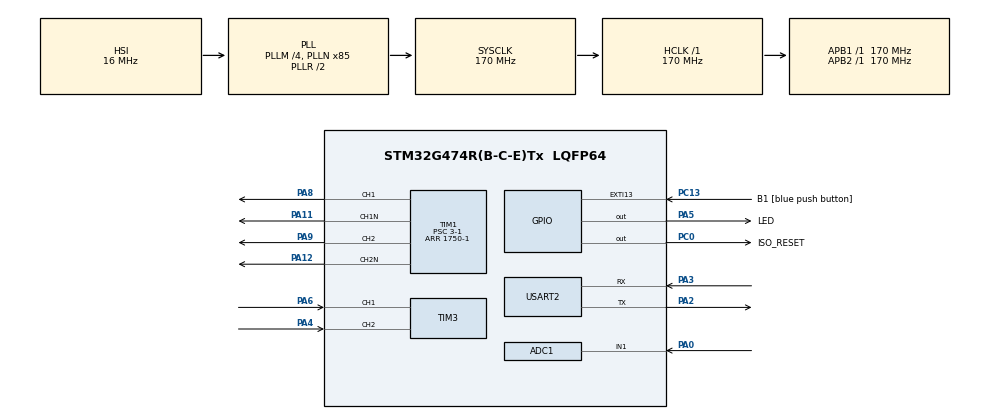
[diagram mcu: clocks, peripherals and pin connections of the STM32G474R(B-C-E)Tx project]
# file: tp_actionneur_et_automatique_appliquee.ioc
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ADC1.Channel-0\#ChannelRegularConversion=ADC_CHANNEL_1
ADC1.DMAContinuousRequests=ENABLE
ADC1.ExternalTrigConv=ADC_EXTERNALTRIG_T1_TRGO
ADC1.NbrOfConversionFlag=1
ADC1.OffsetNumber-0\#ChannelRegularConversion=ADC_OFFSET_NONE
ADC1.Rank-0\#ChannelRegularConversion=1
ADC1.SamplingTime-0\#ChannelRegularConversion=ADC_SAMPLETIME_92CYCLES_5
ADC1.master=1
Dma.ADC1.0.Direction=DMA_PERIPH_TO_MEMORY
Dma.ADC1.0.EventEnable=DISABLE
Dma.ADC1.0.Instance=DMA1_Channel1
Dma.ADC1.0.MemDataAlignment=DMA_MDATAALIGN_WORD
Dma.ADC1.0.MemInc=DMA_MINC_ENABLE
Dma.ADC1.0.Mode=DMA_CIRCULAR
Dma.ADC1.0.PeriphDataAlignment=DMA_PDATAALIGN_WORD
Dma.ADC1.0.PeriphInc=DMA_PINC_DISABLE
Dma.ADC1.0.Polarity=HAL_DMAMUX_REQ_GEN_RISING
Dma.ADC1.0.Priority=DMA_PRIORITY_LOW
Dma.ADC1.0.RequestNumber=1
Dma.ADC1.0.SignalID=NONE
Dma.ADC1.0.SyncEnable=DISABLE
Dma.ADC1.0.SyncPolarity=HAL_DMAMUX_SYNC_NO_EVENT
Dma.ADC1.0.SyncRequestNumber=1
Dma.ADC1.0.SyncSignalID=NONE
Dma.Request0=ADC1
Mcu.Family=STM32G4
Mcu.Name=STM32G474R(B-C-E)Tx
Mcu.Package=LQFP64
NVIC.DMA1_Channel1_IRQn=true\:0\:0\:false\:false\:true\:false\:true\:true
NVIC.EXTI15_10_IRQn=true\:0\:0\:false\:false\:true\:true\:true\:true
NVIC.PriorityGroup=NVIC_PRIORITYGROUP_4
NVIC.TIM4_IRQn=true\:0\:0\:false\:false\:true\:true\:true\:true
NVIC.USART2_IRQn=true\:0\:0\:false\:false\:true\:true\:true\:true
PA0.Mode=IN1-Single-Ended
PA0.Signal=ADC1_IN1
PA11.Mode=PWM Generation1 CH1 CH1N
PA11.Signal=TIM1_CH1N
PA12.Mode=PWM Generation2 CH2 CH2N
PA12.Signal=TIM1_CH2N
PA13.GPIO_Label=T_SWDIO
PA13.Mode=Serial_Wire
PA13.Signal=SYS_JTMS-SWDIO
PA14.GPIO_Label=T_SWCLK
PA14.Mode=Serial_Wire
PA14.Signal=SYS_JTCK-SWCLK
PA2.Mode=Asynchronous
PA2.Signal=USART2_TX
PA3.Mode=Asynchronous
PA3.Signal=USART2_RX
PA4.Signal=S_TIM3_CH2
PA5.GPIO_Label=LED
PA5.Signal=GPIO_Output
PA6.Signal=S_TIM3_CH1
PA8.Signal=S_TIM1_CH1
PA9.Signal=S_TIM1_CH2
PC0.GPIO_Label=ISO_RESET
PC0.Signal=GPIO_Output
PC13.GPIO_Label=B1 [blue push button]
PC13.Signal=GPXTI13
PC14-OSC32_IN.Mode=LSE-External-Oscillator
PC14-OSC32_IN.Signal=RCC_OSC32_IN
PC15-OSC32_OUT.Mode=LSE-External-Oscillator
PC15-OSC32_OUT.Signal=RCC_OSC32_OUT
PF0-OSC_IN.Mode=HSE-External-Oscillator
PF0-OSC_IN.Signal=RCC_OSC_IN
PF1-OSC_OUT.Mode=HSE-External-Oscillator
PF1-OSC_OUT.Signal=RCC_OSC_OUT
ProjectManager.HeapSize=0x200
ProjectManager.StackSize=0x400
ProjectManager.TargetToolchain=STM32CubeIDE
RCC.ADC12Freq_Value=170000000
RCC.ADC345Freq_Value=170000000
RCC.AHBFreq_Value=170000000
RCC.APB1Freq_Value=170000000
RCC.APB1TimFreq_Value=170000000
RCC.APB2Freq_Value=170000000
RCC.APB2TimFreq_Value=170000000
RCC.CortexFreq_Value=170000000
RCC.EXTERNAL_CLOCK_VALUE=12288000
RCC.HCLKFreq_Value=170000000
RCC.HSE_VALUE=24000000
RCC.HSI48_VALUE=48000000
RCC.HSI_VALUE=16000000
RCC.PLLM=RCC_PLLM_DIV4
RCC.PLLN=85
RCC.RTCClockSelection=RCC_RTCCLKSOURCE_LSE
RCC.SYSCLKFreq_VALUE=170000000
RCC.SYSCLKSource=RCC_SYSCLKSOURCE_PLLCLK
RCC.USBFreq_Value=170000000
RCC.VCOOutputFreq_Value=340000000
SH.S_TIM1_CH1.0=TIM1_CH1,PWM Generation1 CH1 CH1N
SH.S_TIM1_CH2.0=TIM1_CH2,PWM Generation2 CH2 CH2N
SH.S_TIM3_CH1.0=TIM3_CH1,Encoder_Interface
SH.S_TIM3_CH2.0=TIM3_CH2,Encoder_Interface
TIM1.AutoReloadPreload=TIM_AUTORELOAD_PRELOAD_ENABLE
TIM1.BreakState=TIM_BREAK_DISABLE
TIM1.Channel-PWM\ Generation1\ CH1\ CH1N=TIM_CHANNEL_1
TIM1.Channel-PWM\ Generation2\ CH2\ CH2N=TIM_CHANNEL_2
TIM1.CounterMode=TIM_COUNTERMODE_CENTERALIGNED1
TIM1.DeadTime=203
TIM1.OCMode_PWM-PWM\ Generation2\ CH2\ CH2N=TIM_OCMODE_PWM1
TIM1.PeriodNoDither=1750-1
TIM1.Prescaler=3-1
TIM1.PulseNoDither_1=875
TIM1.PulseNoDither_2=875
TIM1.TIM_MasterOutputTrigger=TIM_TRGO_UPDATE
TIM1.TIM_MasterSlaveMode=TIM_MASTERSLAVEMODE_ENABLE
TIM3.EncoderMode=TIM_ENCODERMODE_TI12
TIM4.AutoReloadPreload=TIM_AUTORELOAD_PRELOAD_ENABLE
TIM4.PeriodNoDither=1000
TIM4.Prescaler=170
USART2.VirtualMode-Asynchronous=VM_ASYNC
VP_SYS_VS_DBSignals.Mode=DisableDeadBatterySignals
VP_TIM1_VS_ClockSourceINT.Mode=Internal
VP_TIM4_VS_ClockSourceINT.Mode=Internal
board=NUCLEO-G474RE

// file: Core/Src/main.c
/* USER CODE BEGIN Header */
/**
 ******************************************************************************
 * @file           : main.c
 * @brief          : Main program body
 ******************************************************************************
 * @attention
 *
 * Copyright (c) 2022 STMicroelectronics.
 * All rights reserved.
 *
 * This software is licensed under terms that can be found in the LICENSE file
 * in the root directory of this software component.
 * If no LICENSE file comes with this software, it is provided AS-IS.
 *
 ******************************************************************************
 */
/* USER CODE END Header */
#include "main.h"
#include "adc.h"
#include "dma.h"
#include "tim.h"
#include "usart.h"
#include "gpio.h"

/* USER CODE BEGIN Includes */
#include <string.h>
#include <stdlib.h>
#include <stdio.h>
#include "hal_abstraction.h"
#include "shell.h"
#include "chopper.h"
/* USER CODE END Includes */

/* USER CODE BEGIN PD */
#define CURRENT_CONVERSION_FACTOR		(3.3/4096.0)*12.0
#define CURRENT_OFFSET					2.5*12.0
#define TICK_PER_ROTATION				4096.0
#define MS_TO_MIN						1000 * 60
/* USER CODE END PD */

/* USER CODE BEGIN PV */
h_shell_t shell;

const uint8_t prompt[]="user@Nucleo-STM32G431>>";
uint8_t started[]=
		"\r\n*-----------------------------*"
		"\r\n| Welcome on Nucleo-STM32G474 |"
		"\r\n*-----------------------------*"
		"\r\n";
const uint8_t newline[]="\r\n";
const uint8_t cmdNotFound[]="Command not found\r\n";
const uint8_t startmsg[] = "Power ON\r\n";
const uint8_t stopmsg[] = "Power OFF\r\n";
const uint8_t restartmsg[] = "Restarting...\r\nPower ON\r\n";

const uint8_t help[6][32]=
{
		"set <pin> <state>\r\n",
		"get <value name>\r\n",
		"start\r\n",
		"stop\r\n",
		"pinout\r\n",
		"restart\r\n"
};

const uint8_t pinoutmsg[7][64]=
{
		"Pinout\r\n",
		" ------------------\r\n"
		"| PA8  | TIM1_CH1  |\r\n",
		"| PA9  | TIM1_CH2  |\r\n",
		"| PA11 | TIM1_CH1N |\r\n",
		"| PA12 | TIM1_CH2N |\r\n",
		" ------------------\r\n"
};
uint32_t 	rawCurrent[1];
float 	current;

uint32_t currentCNT, previousCNT;
uint32_t diff;
/* USER CODE END PV */

void SystemClock_Config(void);

/* USER CODE BEGIN 0 */
int __io_putchar(int ch)
{
	HAL_UART_Transmit(&huart2, (uint8_t *)&ch, 1, 0xFFFF);
	return ch;
}
/* USER CODE END 0 */

int main(void)
{
	/* USER CODE BEGIN 1 */
	shell.serial.transmit = serial_transmit;
	shell.serial.receive = serial_receive;

	char	 	cmdBuffer[CMD_BUFFER_SIZE];
	int 		idx_cmd;
	char* 		argv[MAX_ARGS];
	int		 	argc = 0;
	char*		token;
	int 		newCmdReady = 0;
	/* USER CODE END 1 */

	/* MCU Configuration--------------------------------------------------------*/

	/* Reset of all peripherals, Initializes the Flash interface and the Systick. */
	HAL_Init();

	/* Configure the system clock */
	SystemClock_Config();

	/* Initialize all configured peripherals */
	MX_GPIO_Init();
	MX_DMA_Init();
	MX_TIM1_Init();
	MX_USART2_UART_Init();
	MX_ADC1_Init();
	MX_TIM3_Init();
	MX_TIM4_Init();
	/* USER CODE BEGIN 2 */
	/*
	 * MX_GPIO_Init();
  	  MX_DMA_Init();
  	  MX_TIM1_Init();
  	  MX_USART2_UART_Init();
  	  MX_ADC1_Init();
  	  MX_TIM3_Init();
  	  MX_TIM4_Init();
	 */
	memset(argv,(int) NULL,MAX_ARGS*sizeof(char*));
	memset(cmdBuffer,(int) NULL,CMD_BUFFER_SIZE*sizeof(char));
	memset(shell.uartRxBuffer,(int) NULL,UART_RX_BUFFER_SIZE*sizeof(char));
	memset(shell.uartTxBuffer,(int) NULL,UART_TX_BUFFER_SIZE*sizeof(char));

	HAL_UART_Receive_IT(&huart2, shell.uartRxBuffer, UART_RX_BUFFER_SIZE);
	HAL_Delay(10);
	HAL_UART_Transmit(&huart2, started, sizeof(started), HAL_MAX_DELAY);
	HAL_UART_Transmit(&huart2, prompt, sizeof(prompt), HAL_MAX_DELAY);
	HAL_ADC_Start_DMA(&hadc1, (uint32_t*)&rawCurrent, 1);

	HAL_TIM_Base_Start(&htim1);
	HAL_TIM_Base_Start_IT(&htim4);
	HAL_TIM_Encoder_Start(&htim3, TIM_CHANNEL_ALL);
	/* USER CODE END 2 */

	/* Infinite loop */
	/* USER CODE BEGIN WHILE */
	while (1)
	{	// uartRxReceived is set to 1 when a new character is received on uart 1
		if(shell.uartRxReceived){
			switch(shell.uartRxBuffer[0]){
			// Nouvelle ligne, instruction à traiter
			case ASCII_CR:
				shell.serial.transmit((uint8_t*) newline, sizeof(newline), HAL_MAX_DELAY);
				cmdBuffer[idx_cmd] = '\0';
				argc = 0;
				token = strtok(cmdBuffer, " ");
				while(token!=NULL){
					argv[argc++] = token;
					token = strtok(NULL, " ");
				}

				idx_cmd = 0;
				newCmdReady = 1;
				break;
				// Suppression du dernier caractère
			case ASCII_DEL:
				cmdBuffer[idx_cmd--] = '\0';
				shell.serial.transmit(shell.uartRxBuffer, UART_RX_BUFFER_SIZE, HAL_MAX_DELAY);
				break;
				// Nouveau caractère
			default:
				cmdBuffer[idx_cmd++] = shell.uartRxBuffer[0];
				shell.serial.transmit(shell.uartRxBuffer, UART_RX_BUFFER_SIZE, HAL_MAX_DELAY);
			}
			shell.uartRxReceived = 0;
		}

		if(newCmdReady){
			if(strcmp(argv[0],"set")==0){
				if(strcmp(argv[1],"PA5")==0){
					HAL_GPIO_WritePin(LED_GPIO_Port, LED_Pin, atoi(argv[2]));
					sprintf((char*) &(shell.uartTxBuffer),"Switch on/off led : %d\r\n",atoi(argv[2]));
					shell.serial.transmit(shell.uartTxBuffer, 32, HAL_MAX_DELAY);
				}
				else{
					shell.serial.transmit((uint8_t*)cmdNotFound, sizeof(cmdNotFound), HAL_MAX_DELAY);
				}
			}
			else if(strcmp(argv[0],"get")==0)
			{
				if(strcmp(argv[1],"current")==0){
					current = (float)rawCurrent[0]*CURRENT_CONVERSION_FACTOR - CURRENT_OFFSET;
					//current+=0.36;

					sprintf((char*) &(shell.uartTxBuffer), "current : %.2f A \r\n", current);
					shell.serial.transmit(shell.uartTxBuffer, 32, HAL_MAX_DELAY);
				}else if(strcmp(argv[1],"speed")==0){
					float speed = diff/TICK_PER_ROTATION * MS_TO_MIN;
					sprintf((char*) &(shell.uartTxBuffer), "speed : %.0f rpm\r\n", speed);
					shell.serial.transmit(shell.uartTxBuffer, 32, HAL_MAX_DELAY);
				}else if(strcmp(argv[1], "diff") == 0){
					sprintf((char*) &(shell.uartTxBuffer), "diff : %ld\r\n", diff);
					shell.serial.transmit(shell.uartTxBuffer, 32, HAL_MAX_DELAY);
				}
			}
			else if(strcmp(argv[0],"start")==0) {
				chopper_start();

				shell.serial.transmit((uint8_t*)startmsg, sizeof(startmsg), HAL_MAX_DELAY);
			}
			else if(strcmp(argv[0],"stop")==0) {
				chopper_stop();

				shell.serial.transmit((uint8_t*)stopmsg, sizeof(stopmsg), HAL_MAX_DELAY);
			}
			else if(strcmp(argv[0],"restart")==0) {
				chopper_restart();
				shell.serial.transmit((uint8_t*)&restartmsg, sizeof(restartmsg), HAL_MAX_DELAY);
			}
			else if(strcmp(argv[0],"help")==0)
			{
				if(strcmp(argv[1], "set")==0){
					shell.serial.transmit((uint8_t*)&help[0], sizeof(help[0]), HAL_MAX_DELAY);
				}
				else if(strcmp(argv[1], "get")==0){
					shell.serial.transmit((uint8_t*)&help[1], sizeof(help[1]), HAL_MAX_DELAY);
				}
				else if(strcmp(argv[1], "start")==0){
					shell.serial.transmit((uint8_t*)&help[2], sizeof(help[2]), HAL_MAX_DELAY);
				}
				else if(strcmp(argv[1], "stop")==0){
					shell.serial.transmit((uint8_t*)&help[3], sizeof(help[3]), HAL_MAX_DELAY);
				}
				else if(strcmp(argv[1], "pinout")==0){

					shell.serial.transmit((uint8_t*)&help[4], sizeof(help[4]), HAL_MAX_DELAY);
				}
				else if(strcmp(argv[1], "restart")==0){
					shell.serial.transmit((uint8_t*)&help[5], sizeof(help[5]), HAL_MAX_DELAY);
				}
				else{
					shell.serial.transmit((uint8_t*)&help, sizeof(help), HAL_MAX_DELAY);
				}
			}
			else if(strcmp(argv[0],"pinout")==0) {
				shell.serial.transmit((uint8_t*)&pinoutmsg, sizeof(pinoutmsg), HAL_MAX_DELAY);
			}
			else if(strcmp(argv[0],"speed")==0) {
				if(argv[1] != NULL){
					uint16_t speed;
					sscanf(argv[1], "%hd", &speed);
					chopper_speed(speed);
				}
			}
			else{
				shell.serial.transmit((uint8_t*)cmdNotFound, sizeof(cmdNotFound), HAL_MAX_DELAY);
			}
			shell.serial.transmit((uint8_t*)prompt, sizeof(prompt), HAL_MAX_DELAY);
			newCmdReady = 0;
		}
		/* USER CODE END WHILE */

	}
}

void SystemClock_Config(void)
{
	RCC_OscInitTypeDef RCC_OscInitStruct = {0};
	RCC_ClkInitTypeDef RCC_ClkInitStruct = {0};

	/** Configure the main internal regulator output voltage
	 */
	HAL_PWREx_ControlVoltageScaling(PWR_REGULATOR_VOLTAGE_SCALE1_BOOST);

	/** Initializes the RCC Oscillators according to the specified parameters
	 * in the RCC_OscInitTypeDef structure.
	 */
	RCC_OscInitStruct.OscillatorType = RCC_OSCILLATORTYPE_HSI;
	RCC_OscInitStruct.HSIState = RCC_HSI_ON;
	RCC_OscInitStruct.HSICalibrationValue = RCC_HSICALIBRATION_DEFAULT;
	RCC_OscInitStruct.PLL.PLLState = RCC_PLL_ON;
	RCC_OscInitStruct.PLL.PLLSource = RCC_PLLSOURCE_HSI;
	RCC_OscInitStruct.PLL.PLLM = RCC_PLLM_DIV4;
	RCC_OscInitStruct.PLL.PLLN = 85;
	RCC_OscInitStruct.PLL.PLLP = RCC_PLLP_DIV2;
	RCC_OscInitStruct.PLL.PLLQ = RCC_PLLQ_DIV2;
	RCC_OscInitStruct.PLL.PLLR = RCC_PLLR_DIV2;
	if (HAL_RCC_OscConfig(&RCC_OscInitStruct) != HAL_OK)
	{
		Error_Handler();
	}

	/** Initializes the CPU, AHB and APB buses clocks
	 */
	RCC_ClkInitStruct.ClockType = RCC_CLOCKTYPE_HCLK|RCC_CLOCKTYPE_SYSCLK
			|RCC_CLOCKTYPE_PCLK1|RCC_CLOCKTYPE_PCLK2;
	RCC_ClkInitStruct.SYSCLKSource = RCC_SYSCLKSOURCE_PLLCLK;
	RCC_ClkInitStruct.AHBCLKDivider = RCC_SYSCLK_DIV1;
	RCC_ClkInitStruct.APB1CLKDivider = RCC_HCLK_DIV1;
	RCC_ClkInitStruct.APB2CLKDivider = RCC_HCLK_DIV1;

	if (HAL_RCC_ClockConfig(&RCC_ClkInitStruct, FLASH_LATENCY_4) != HAL_OK)
	{
		Error_Handler();
	}
}

/* USER CODE BEGIN 4 */
void HAL_UART_RxCpltCallback (UART_HandleTypeDef * huart){
	shell.uartRxReceived = 1;
	HAL_UART_Receive_IT(&huart2, shell.uartRxBuffer, UART_RX_BUFFER_SIZE);
}
void HAL_ADC_ConvCpltCallback(ADC_HandleTypeDef* hadc)
{

}

void HAL_TIM_PeriodElapsedCallback(TIM_HandleTypeDef* htim)
{
	if(htim->Instance == TIM4){
		previousCNT = currentCNT;
		currentCNT = TIM3->CNT;
		diff = -(currentCNT-previousCNT);
	}
}
/* USER CODE END 4 */

void Error_Handler(void)
{
	__disable_irq();
	while (1)
	{
	}
}
